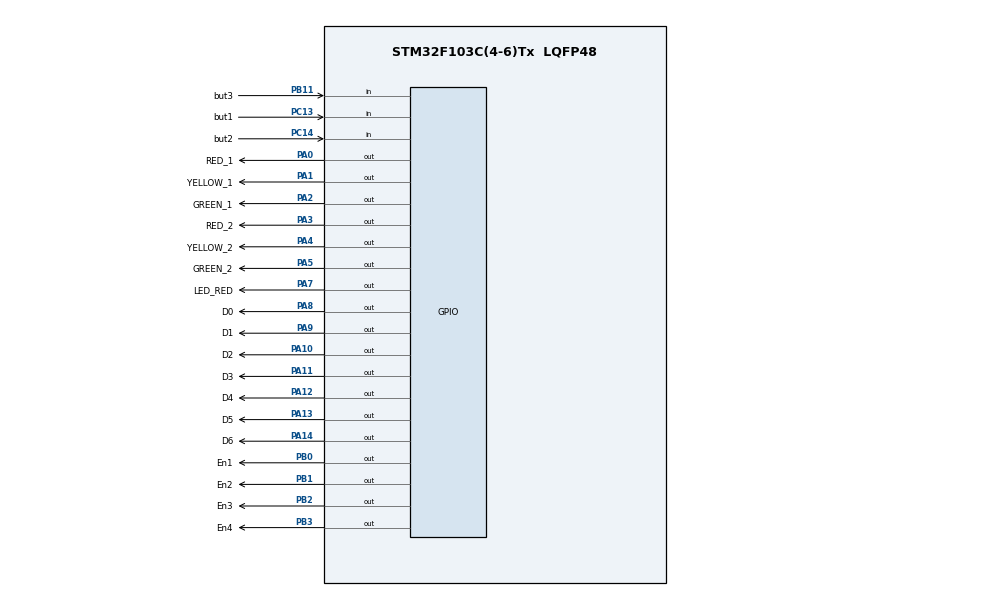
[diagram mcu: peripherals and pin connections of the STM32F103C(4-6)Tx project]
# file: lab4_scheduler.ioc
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Mcu.Family=STM32F1
Mcu.Name=STM32F103C(4-6)Tx
Mcu.Package=LQFP48
NVIC.PriorityGroup=NVIC_PRIORITYGROUP_4
NVIC.TIM2_IRQn=true\:0\:0\:false\:false\:true\:true\:true
PA0-WKUP.GPIO_Label=RED_1
PA0-WKUP.Signal=GPIO_Output
PA1.GPIO_Label=YELLOW_1
PA1.Signal=GPIO_Output
PA10.GPIO_Label=D2
PA10.Signal=GPIO_Output
PA11.GPIO_Label=D3
PA11.Signal=GPIO_Output
PA12.GPIO_Label=D4
PA12.Signal=GPIO_Output
PA13.GPIO_Label=D5
PA13.Signal=GPIO_Output
PA14.GPIO_Label=D6
PA14.Signal=GPIO_Output
PA2.GPIO_Label=GREEN_1
PA2.Signal=GPIO_Output
PA3.GPIO_Label=RED_2
PA3.Signal=GPIO_Output
PA4.GPIO_Label=YELLOW_2
PA4.Signal=GPIO_Output
PA5.GPIO_Label=GREEN_2
PA5.Signal=GPIO_Output
PA7.GPIO_Label=LED_RED
PA7.Signal=GPIO_Output
PA8.GPIO_Label=D0
PA8.Signal=GPIO_Output
PA9.GPIO_Label=D1
PA9.Signal=GPIO_Output
PB0.GPIO_Label=En1
PB0.Signal=GPIO_Output
PB1.GPIO_Label=En2
PB1.Signal=GPIO_Output
PB11.GPIO_Label=but3
PB11.GPIO_PuPd=GPIO_PULLUP
PB11.Signal=GPIO_Input
PB2.GPIO_Label=En3
PB2.Signal=GPIO_Output
PB3.GPIO_Label=En4
PB3.Signal=GPIO_Output
PC13-TAMPER-RTC.GPIO_Label=but1
PC13-TAMPER-RTC.GPIO_PuPd=GPIO_PULLUP
PC13-TAMPER-RTC.Signal=GPIO_Input
PC14-OSC32_IN.GPIO_Label=but2
PC14-OSC32_IN.GPIO_PuPd=GPIO_PULLUP
PC14-OSC32_IN.Signal=GPIO_Input
ProjectManager.HeapSize=0x200
ProjectManager.StackSize=0x400
ProjectManager.TargetToolchain=STM32CubeIDE
RCC.APB1Freq_Value=8000000
RCC.APB2Freq_Value=8000000
TIM2.Period=9
TIM2.Prescaler=7999
VP_SYS_VS_ND.Mode=No_Debug
VP_TIM2_VS_ClockSourceINT.Mode=Internal
board=custom

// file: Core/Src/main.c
/* USER CODE BEGIN Header */
/**
  ******************************************************************************
  * @file           : main.c
  * @brief          : Main program body
  ******************************************************************************
  * @attention
  *
  * <h2><center>&copy; Copyright (c) 2024 STMicroelectronics.
  * All rights reserved.</center></h2>
  *
  * This software component is licensed by ST under BSD 3-Clause license,
  * the "License"; You may not use this file except in compliance with the
  * License. You may obtain a copy of the License at:
  *                        opensource.org/licenses/BSD-3-Clause
  *
  ******************************************************************************
  */
/* USER CODE END Header */
#include "main.h"

/* USER CODE BEGIN Includes */
#include "global.h"
#include "automatic.h"
#include "manual.h"
#include "normal_state.h"
#include "scheduler.h"
/* USER CODE END Includes */

TIM_HandleTypeDef htim2;

void SystemClock_Config(void);
static void MX_GPIO_Init(void);
static void MX_TIM2_Init(void);

int main(void)
{

  /* MCU Configuration--------------------------------------------------------*/

  /* Reset of all peripherals, Initializes the Flash interface and the Systick. */
  HAL_Init();

  /* Configure the system clock */
  SystemClock_Config();

  /* Initialize all configured peripherals */
  MX_GPIO_Init();
  MX_TIM2_Init();
  /* USER CODE BEGIN 2 */
  HAL_TIM_Base_Start_IT(&htim2);
  /* USER CODE END 2 */

  /* Infinite loop */
  /* USER CODE BEGIN WHILE */
  status = INIT;
  setTimer(2, 250);
  setTimer(4,1000);
  SCH_Add_Task(scanled, 25, 25);
  SCH_Add_Task(led_test, 100, 40);
  SCH_Add_Task(automatic_run, 25, 25);
  SCH_Add_Task(switch_mode, 25, 25);
  SCH_Add_Task(run_manu, 25, 25);
  HAL_GPIO_WritePin(LED_RED_GPIO_Port, LED_RED_Pin, SET);
  while (1)
  {
    /* USER CODE END WHILE */
	  SCH_Dispatch_Tasks();
  }
}

void SystemClock_Config(void)
{
  RCC_OscInitTypeDef RCC_OscInitStruct = {0};
  RCC_ClkInitTypeDef RCC_ClkInitStruct = {0};

  /** Initializes the RCC Oscillators according to the specified parameters
  * in the RCC_OscInitTypeDef structure.
  */
  RCC_OscInitStruct.OscillatorType = RCC_OSCILLATORTYPE_HSI;
  RCC_OscInitStruct.HSIState = RCC_HSI_ON;
  RCC_OscInitStruct.HSICalibrationValue = RCC_HSICALIBRATION_DEFAULT;
  RCC_OscInitStruct.PLL.PLLState = RCC_PLL_NONE;
  if (HAL_RCC_OscConfig(&RCC_OscInitStruct) != HAL_OK)
  {
    Error_Handler();
  }
  /** Initializes the CPU, AHB and APB buses clocks
  */
  RCC_ClkInitStruct.ClockType = RCC_CLOCKTYPE_HCLK|RCC_CLOCKTYPE_SYSCLK
                              |RCC_CLOCKTYPE_PCLK1|RCC_CLOCKTYPE_PCLK2;
  RCC_ClkInitStruct.SYSCLKSource = RCC_SYSCLKSOURCE_HSI;
  RCC_ClkInitStruct.AHBCLKDivider = RCC_SYSCLK_DIV1;
  RCC_ClkInitStruct.APB1CLKDivider = RCC_HCLK_DIV1;
  RCC_ClkInitStruct.APB2CLKDivider = RCC_HCLK_DIV1;

  if (HAL_RCC_ClockConfig(&RCC_ClkInitStruct, FLASH_LATENCY_0) != HAL_OK)
  {
    Error_Handler();
  }
}

static void MX_TIM2_Init(void)
{

  TIM_ClockConfigTypeDef sClockSourceConfig = {0};
  TIM_MasterConfigTypeDef sMasterConfig = {0};

  htim2.Instance = TIM2;
  htim2.Init.Prescaler = 7999;
  htim2.Init.CounterMode = TIM_COUNTERMODE_UP;
  htim2.Init.Period = 9;
  htim2.Init.ClockDivision = TIM_CLOCKDIVISION_DIV1;
  htim2.Init.AutoReloadPreload = TIM_AUTORELOAD_PRELOAD_DISABLE;
  if (HAL_TIM_Base_Init(&htim2) != HAL_OK)
  {
    Error_Handler();
  }
  sClockSourceConfig.ClockSource = TIM_CLOCKSOURCE_INTERNAL;
  if (HAL_TIM_ConfigClockSource(&htim2, &sClockSourceConfig) != HAL_OK)
  {
    Error_Handler();
  }
  sMasterConfig.MasterOutputTrigger = TIM_TRGO_RESET;
  sMasterConfig.MasterSlaveMode = TIM_MASTERSLAVEMODE_DISABLE;
  if (HAL_TIMEx_MasterConfigSynchronization(&htim2, &sMasterConfig) != HAL_OK)
  {
    Error_Handler();
  }

}

static void MX_GPIO_Init(void)
{
  GPIO_InitTypeDef GPIO_InitStruct = {0};

  /* GPIO Ports Clock Enable */
  __HAL_RCC_GPIOC_CLK_ENABLE();
  __HAL_RCC_GPIOA_CLK_ENABLE();
  __HAL_RCC_GPIOB_CLK_ENABLE();

  /*Configure GPIO pin Output Level */
  HAL_GPIO_WritePin(GPIOA, RED_1_Pin|YELLOW_1_Pin|GREEN_1_Pin|RED_2_Pin
                          |YELLOW_2_Pin|GREEN_2_Pin|LED_RED_Pin|D0_Pin
                          |D1_Pin|D2_Pin|D3_Pin|D4_Pin
                          |D5_Pin|D6_Pin, GPIO_PIN_RESET);

  /*Configure GPIO pin Output Level */
  HAL_GPIO_WritePin(GPIOB, En1_Pin|En2_Pin|En3_Pin|En4_Pin, GPIO_PIN_RESET);

  /*Configure GPIO pins : but1_Pin but2_Pin */
  GPIO_InitStruct.Pin = but1_Pin|but2_Pin;
  GPIO_InitStruct.Mode = GPIO_MODE_INPUT;
  GPIO_InitStruct.Pull = GPIO_PULLUP;
  HAL_GPIO_Init(GPIOC, &GPIO_InitStruct);

  /*Configure GPIO pins : RED_1_Pin YELLOW_1_Pin GREEN_1_Pin RED_2_Pin
                           YELLOW_2_Pin GREEN_2_Pin LED_RED_Pin D0_Pin
                           D1_Pin D2_Pin D3_Pin D4_Pin
                           D5_Pin D6_Pin */
  GPIO_InitStruct.Pin = RED_1_Pin|YELLOW_1_Pin|GREEN_1_Pin|RED_2_Pin
                          |YELLOW_2_Pin|GREEN_2_Pin|LED_RED_Pin|D0_Pin
                          |D1_Pin|D2_Pin|D3_Pin|D4_Pin
                          |D5_Pin|D6_Pin;
  GPIO_InitStruct.Mode = GPIO_MODE_OUTPUT_PP;
  GPIO_InitStruct.Pull = GPIO_NOPULL;
  GPIO_InitStruct.Speed = GPIO_SPEED_FREQ_LOW;
  HAL_GPIO_Init(GPIOA, &GPIO_InitStruct);

  /*Configure GPIO pins : En1_Pin En2_Pin En3_Pin En4_Pin */
  GPIO_InitStruct.Pin = En1_Pin|En2_Pin|En3_Pin|En4_Pin;
  GPIO_InitStruct.Mode = GPIO_MODE_OUTPUT_PP;
  GPIO_InitStruct.Pull = GPIO_NOPULL;
  GPIO_InitStruct.Speed = GPIO_SPEED_FREQ_LOW;
  HAL_GPIO_Init(GPIOB, &GPIO_InitStruct);

  /*Configure GPIO pin : but3_Pin */
  GPIO_InitStruct.Pin = but3_Pin;
  GPIO_InitStruct.Mode = GPIO_MODE_INPUT;
  GPIO_InitStruct.Pull = GPIO_PULLUP;
  HAL_GPIO_Init(but3_GPIO_Port, &GPIO_InitStruct);

}

/* USER CODE BEGIN 4 */
void HAL_TIM_PeriodElapsedCallback(TIM_HandleTypeDef *htim){
	SCH_Update();
	getKeyInput();
}
/* USER CODE END 4 */

void Error_Handler(void)
{
  __disable_irq();
  while (1)
  {
  }
}

/************************ (C) COPYRIGHT STMicroelectronics *****END OF FILE****/
